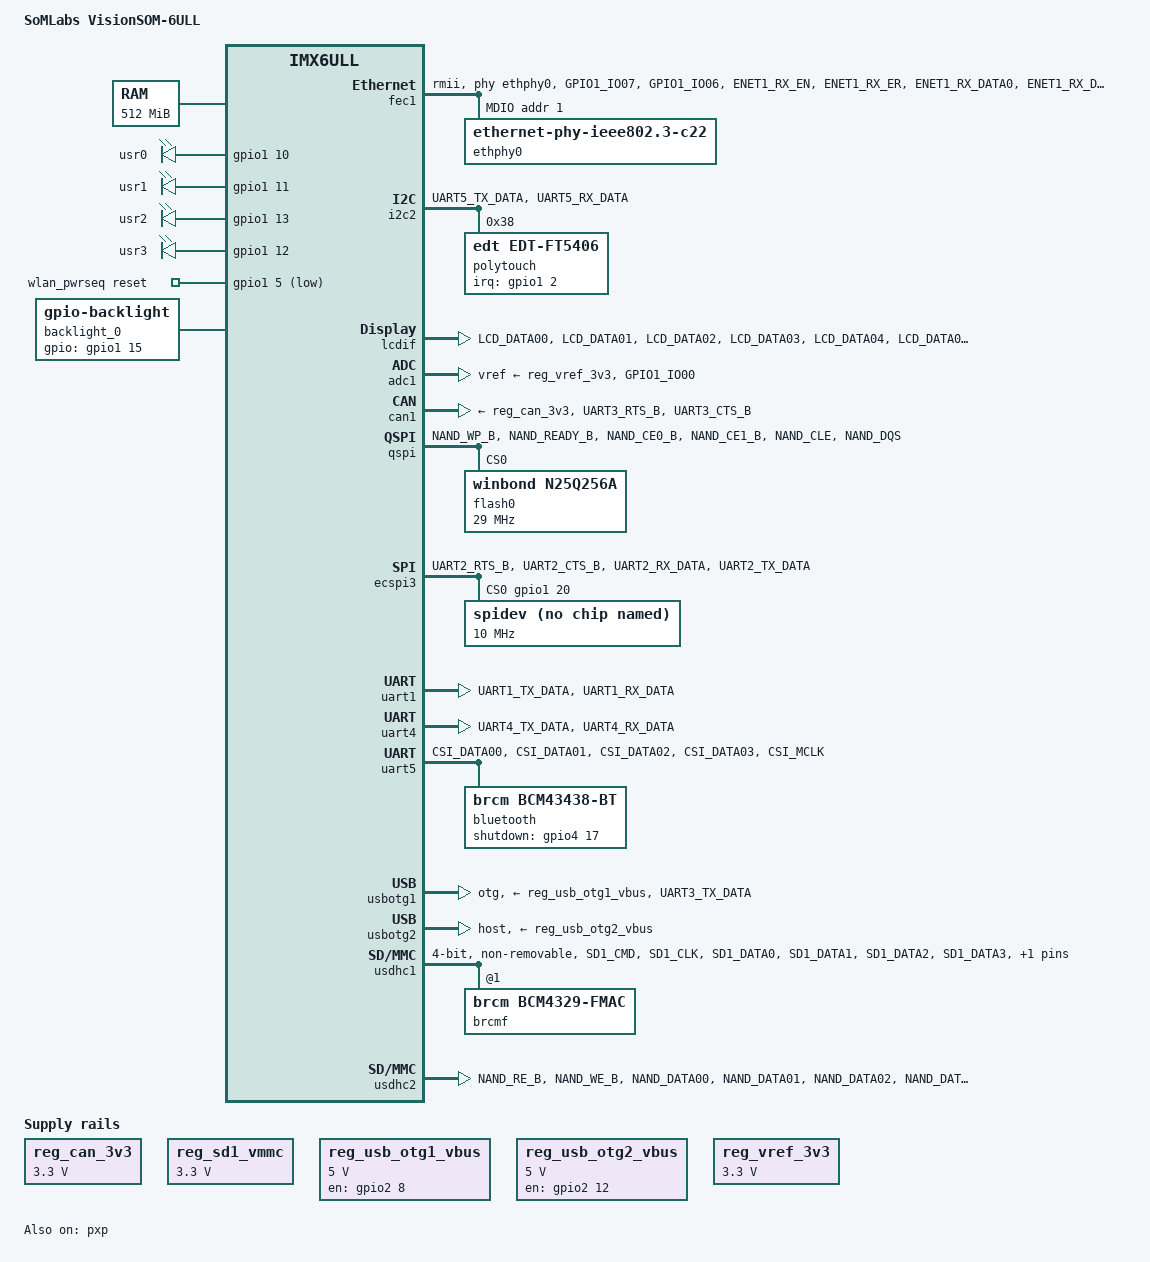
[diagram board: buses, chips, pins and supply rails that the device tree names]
/*
 * Copyright (C) 2015 Freescale Semiconductor, Inc.
 *
 * This program is free software; you can redistribute it and/or modify
 * it under the terms of the GNU General Public License version 2 as
 * published by the Free Software Foundation.
 */

/dts-v1/;

#include <dt-bindings/input/input.h>
#include "imx6ull.dtsi"

/ {
	model = "SoMLabs VisionSOM-6ULL";
	compatible = "fsl,imx6ull-14x14-evk", "fsl,imx6ull";

	chosen {
		stdout-path = &uart1;
	};

	memory {
		reg = <0x80000000 0x20000000>;
	};

	reserved-memory {
		#address-cells = <1>;
		#size-cells = <1>;
		ranges;

		linux,cma {
			compatible = "shared-dma-pool";
			reusable;
			size = <0x14000000>;
			linux,cma-default;
		};
	};

	leds {
		compatible = "gpio-leds";

		usr0 {
				label = "usr0";
				gpios = <&gpio1 10 GPIO_ACTIVE_HIGH>;
				linux,default-trigger = "heartbeat";
		};

		usr1 {
				label = "usr1";
				gpios = <&gpio1 11 GPIO_ACTIVE_HIGH>;
				linux,default-trigger = "mmc0";
		};

		usr2 {
				label = "usr2";
				gpios = <&gpio1 13 GPIO_ACTIVE_HIGH>;
				linux,default-trigger = "mmc1";
		};

		usr3 {
				label = "usr3";
				gpios = <&gpio1 12 GPIO_ACTIVE_HIGH>;
		};

	};

	pxp_v4l2 {
		compatible = "fsl,imx6ul-pxp-v4l2", "fsl,imx6sx-pxp-v4l2", "fsl,imx6sl-pxp-v4l2";
		status = "okay";
	};

	regulators {
		compatible = "simple-bus";
		#address-cells = <1>;
		#size-cells = <0>;

		reg_can_3v3: regulator@0 {
			compatible = "regulator-fixed";
			reg = <0>;
			regulator-name = "can-3v3";
			regulator-min-microvolt = <3300000>;
			regulator-max-microvolt = <3300000>;
			regulator-always-on;
		};

		reg_sd1_vmmc: regulator@1 {
			compatible = "regulator-fixed";
			regulator-name = "VSD_3V3";
			regulator-min-microvolt = <3300000>;
			regulator-max-microvolt = <3300000>;
			enable-active-high;
			regulator-always-on;
		};

		reg_usb_otg1_vbus: regulator@2 {
			compatible = "regulator-fixed";
			reg = <2>;
			pinctrl-names = "default";
			pinctrl-0 = <&pinctrl_usb_otg1>;
			regulator-name = "usb_otg1_vbus";
			regulator-min-microvolt = <5000000>;
			regulator-max-microvolt = <5000000>;
			gpio = <&gpio2 8 GPIO_ACTIVE_HIGH>;
			enable-active-high;
		};

		reg_usb_otg2_vbus: regulator@3 {
			compatible = "regulator-fixed";
			reg = <3>;
			pinctrl-names = "default";
			pinctrl-0 = <&pinctrl_usb_otg2>;
			regulator-name = "usb_otg2_vbus";
			regulator-min-microvolt = <5000000>;
			regulator-max-microvolt = <5000000>;
			gpio = <&gpio2 12 GPIO_ACTIVE_HIGH>;
			enable-active-high;
		};

		reg_vref_3v3: regulator@4 {
			compatible = "regulator-fixed";
			regulator-name = "vref-3v3";
			regulator-min-microvolt = <3300000>;
			regulator-max-microvolt = <3300000>;
		};
	};

	wlan_pwrseq: wlanpwrseq {
		compatible = "mmc-pwrseq-simple";
		pinctrl-names = "default";
		pinctrl-0 = <&pinctrl_wlan_en>;
		reset-gpios = <&gpio1 5 GPIO_ACTIVE_LOW>;
	};

	backlight_0: backlight {
		compatible = "gpio-backlight";
		gpios = <&gpio1 15 GPIO_ACTIVE_HIGH>;
	};
};

&cpu0 {
	arm-supply = <&reg_arm>;
	soc-supply = <&reg_soc>;
};

&clks {
	assigned-clocks = <&clks IMX6UL_CLK_PLL4_AUDIO_DIV>;
	assigned-clock-rates = <786432000>;
};

&fec1 {
	pinctrl-names = "default";
	pinctrl-0 = <&pinctrl_enet1>;
	phy-mode = "rmii";
	phy-handle = <&ethphy0>;
	status = "okay";

	mdio {
		#address-cells = <1>;
		#size-cells = <0>;

		ethphy0: ethernet-phy@1 {
			compatible = "ethernet-phy-ieee802.3-c22";
			reg = <1>;
			clocks = <&clks IMX6UL_CLK_ENET_REF>;
			clock-names = "rmii-ref";
		};
	};
};

&gpc {
	fsl,cpu_pupscr_sw2iso = <0x1>;
	fsl,cpu_pupscr_sw = <0x0>;
	fsl,cpu_pdnscr_iso2sw = <0x1>;
	fsl,cpu_pdnscr_iso = <0x1>;
	fsl,ldo-bypass = <0>; /* DCDC, ldo-enable */
};

&i2c2 {
	clock_frequency = <100000>;
	pinctrl-names = "default";
	pinctrl-0 = <&pinctrl_i2c2>;
	status = "okay";

	polytouch: edt-ft5406@38 {
			status = "okay";
			compatible = "edt,edt-ft5406", "edt,edt-ft5x06";
			pinctrl-names = "default";
			pinctrl-0 = <&edt_ft5406_ts_pins_default>;

			reg = <0x38>;
			interrupt-parent = <&gpio1>;
			interrupts = <2 IRQ_TYPE_EDGE_FALLING>;
			touchscreen-size-x = <800>;
			touchscreen-size-y = <480>;
			touchscreen-inverted-x;
			touchscreen-inverted-y;
	};
};

&iomuxc {
	pinctrl-names = "default";
	pinctrl-0 = <&pinctrl_hog_1>;
	imx6ul-evk {
		pinctrl_adc1: adc1grp {
			fsl,pins = <
				MX6UL_PAD_GPIO1_IO00__GPIO1_IO00        0xb0
			>;
		};

		pinctrl_bt_en: btengrp {
			fsl,pins = <
				MX6UL_PAD_CSI_MCLK__GPIO4_IO17 0x17059
			>;
		};

		pinctrl_hog_1: hoggrp-1 {
			fsl,pins = <
				MX6UL_PAD_JTAG_MOD__GPIO1_IO10		0x17099	/* LED 0 */
				MX6UL_PAD_JTAG_TMS__GPIO1_IO11		0x17099	/* LED 1 */
				MX6UL_PAD_JTAG_TDI__GPIO1_IO13		0x17099	/* LED 2 */
				MX6UL_PAD_JTAG_TDO__GPIO1_IO12		0x17099	/* LED 3 */
			>;
		};

		edt_ft5406_ts_pins_default: tsgrp {
			fsl,pins = <
				MX6UL_PAD_GPIO1_IO02__GPIO1_IO02	0x1b0b0
			>;
		};

		pinctrl_enet1: enet1grp {
			fsl,pins = <
				MX6UL_PAD_GPIO1_IO07__ENET1_MDC		0x1b0b0
				MX6UL_PAD_GPIO1_IO06__ENET1_MDIO	0x1F829

				MX6UL_PAD_ENET1_RX_EN__ENET1_RX_EN	0x1b0b0
				MX6UL_PAD_ENET1_RX_ER__ENET1_RX_ER	0x1b0b0
				MX6UL_PAD_ENET1_RX_DATA0__ENET1_RDATA00	0x1b0b0
				MX6UL_PAD_ENET1_RX_DATA1__ENET1_RDATA01	0x1b0b0
				MX6UL_PAD_ENET1_TX_EN__ENET1_TX_EN	0x1b0b0
				MX6UL_PAD_ENET1_TX_DATA0__ENET1_TDATA00	0x1b0b0
				MX6UL_PAD_ENET1_TX_DATA1__ENET1_TDATA01	0x1b0b0
				MX6UL_PAD_ENET1_TX_CLK__ENET1_REF_CLK1	0x400010a9
			>;
		};

		pinctrl_i2c2: i2c2grp {
			fsl,pins = <
				MX6UL_PAD_UART5_TX_DATA__I2C2_SCL 0x4001b8b0
				MX6UL_PAD_UART5_RX_DATA__I2C2_SDA 0x4001b8b0
			>;
		};

		pinctrl_lcdif_dat: lcdifdatgrp {
			fsl,pins = <
				MX6UL_PAD_LCD_DATA00__LCDIF_DATA00  0x79
				MX6UL_PAD_LCD_DATA01__LCDIF_DATA01  0x79
				MX6UL_PAD_LCD_DATA02__LCDIF_DATA02  0x79
				MX6UL_PAD_LCD_DATA03__LCDIF_DATA03  0x79
				MX6UL_PAD_LCD_DATA04__LCDIF_DATA04  0x79
				MX6UL_PAD_LCD_DATA05__LCDIF_DATA05  0x79
				MX6UL_PAD_LCD_DATA06__LCDIF_DATA06  0x79
				MX6UL_PAD_LCD_DATA07__LCDIF_DATA07  0x79
				MX6UL_PAD_LCD_DATA08__LCDIF_DATA08  0x79
				MX6UL_PAD_LCD_DATA09__LCDIF_DATA09  0x79
				MX6UL_PAD_LCD_DATA10__LCDIF_DATA10  0x79
				MX6UL_PAD_LCD_DATA11__LCDIF_DATA11  0x79
				MX6UL_PAD_LCD_DATA12__LCDIF_DATA12  0x79
				MX6UL_PAD_LCD_DATA13__LCDIF_DATA13  0x79
				MX6UL_PAD_LCD_DATA14__LCDIF_DATA14  0x79
				MX6UL_PAD_LCD_DATA15__LCDIF_DATA15  0x79
				MX6UL_PAD_LCD_DATA16__LCDIF_DATA16  0x79
				MX6UL_PAD_LCD_DATA17__LCDIF_DATA17  0x79
				MX6UL_PAD_LCD_DATA18__LCDIF_DATA18  0x79
				MX6UL_PAD_LCD_DATA19__LCDIF_DATA19  0x79
				MX6UL_PAD_LCD_DATA20__LCDIF_DATA20  0x79
				MX6UL_PAD_LCD_DATA21__LCDIF_DATA21  0x79
				MX6UL_PAD_LCD_DATA22__LCDIF_DATA22  0x79
				MX6UL_PAD_LCD_DATA23__LCDIF_DATA23  0x79
			>;
		};

		pinctrl_lcdif_ctrl: lcdifctrlgrp {
			fsl,pins = <
				MX6UL_PAD_LCD_CLK__LCDIF_CLK	    0x79
				MX6UL_PAD_LCD_ENABLE__LCDIF_ENABLE  0x79
				MX6UL_PAD_LCD_HSYNC__LCDIF_HSYNC    0x79
				MX6UL_PAD_LCD_VSYNC__LCDIF_VSYNC    0x79
				MX6UL_PAD_LCD_RESET__GPIO3_IO04     0xB079
			>;
		};

		pinctrl_qspi: qspigrp {
			fsl,pins = <
				MX6UL_PAD_NAND_WP_B__QSPI_A_SCLK      0x70a1
				MX6UL_PAD_NAND_READY_B__QSPI_A_DATA00 0x70a1
				MX6UL_PAD_NAND_CE0_B__QSPI_A_DATA01   0x70a1
				MX6UL_PAD_NAND_CE1_B__QSPI_A_DATA02   0x70a1
				MX6UL_PAD_NAND_CLE__QSPI_A_DATA03     0x70a1
				MX6UL_PAD_NAND_DQS__QSPI_A_SS0_B      0x70a1
			>;
		};

		pinctrl_ecspi3: ecspi3grp {
			fsl,pins = <
				MX6UL_PAD_UART2_RTS_B__ECSPI3_MISO      0x1b0b1
				MX6UL_PAD_UART2_CTS_B__ECSPI3_MOSI      0x1b0b1
				MX6UL_PAD_UART2_RX_DATA__ECSPI3_SCLK    0x1b0b1
				MX6UL_PAD_UART2_TX_DATA__GPIO1_IO20     0x1b0b0
			>;
		};

		pinctrl_uart1: uart1grp {
			fsl,pins = <
				MX6UL_PAD_UART1_TX_DATA__UART1_DCE_TX 0x1b0b1
				MX6UL_PAD_UART1_RX_DATA__UART1_DCE_RX 0x1b0b1
			>;
		};

		pinctrl_uart4: uart4grp {
			fsl,pins = <
                                MX6UL_PAD_UART4_TX_DATA__UART4_DCE_TX 0x1b0b1
                                MX6UL_PAD_UART4_RX_DATA__UART4_DCE_RX 0x1b0b1
			>;
		};

		pinctrl_uart5: uart5grp {
			fsl,pins = <
				MX6UL_PAD_CSI_DATA00__UART5_DCE_TX      0x1b0b1
				MX6UL_PAD_CSI_DATA01__UART5_DCE_RX      0x1b0b1
				MX6UL_PAD_CSI_DATA02__UART5_DCE_RTS     0x1b0b1
				MX6UL_PAD_CSI_DATA03__UART5_DCE_CTS     0x1b0b1
			>;
		};

		pinctrl_flexcan1: flexcan1grp{
			fsl,pins = <
				MX6UL_PAD_UART3_RTS_B__FLEXCAN1_RX      0x1b020
				MX6UL_PAD_UART3_CTS_B__FLEXCAN1_TX      0x1b020
			>;
		};

		pinctrl_usdhc1: usdhc1grp {
			fsl,pins = <
				MX6UL_PAD_SD1_CMD__USDHC1_CMD      0x17059
				MX6UL_PAD_SD1_CLK__USDHC1_CLK      0x10071
				MX6UL_PAD_SD1_DATA0__USDHC1_DATA0  0x17059
				MX6UL_PAD_SD1_DATA1__USDHC1_DATA1  0x17059
				MX6UL_PAD_SD1_DATA2__USDHC1_DATA2  0x17059
				MX6UL_PAD_SD1_DATA3__USDHC1_DATA3  0x17059
                                MX6UL_PAD_JTAG_TCK__OSC32K_32K_OUT 0x17099
			>;
		};

                pinctrl_usdhc1_100mhz: usdhc1grp_100mhz {
                        fsl,pins = <
                                MX6UL_PAD_SD1_CMD__USDHC1_CMD      0x17069
                                MX6UL_PAD_SD1_CLK__USDHC1_CLK      0x10069
                                MX6UL_PAD_SD1_DATA0__USDHC1_DATA0  0x17069
                                MX6UL_PAD_SD1_DATA1__USDHC1_DATA1  0x17069
                                MX6UL_PAD_SD1_DATA2__USDHC1_DATA2  0x17069
                                MX6UL_PAD_SD1_DATA3__USDHC1_DATA3  0x17069
                                MX6UL_PAD_JTAG_TCK__OSC32K_32K_OUT 0x17099
                        >;
                };

                pinctrl_usdhc1_200mhz: usdhc1grp_200mhz {
                        fsl,pins = <
                                MX6UL_PAD_SD1_CMD__USDHC1_CMD      0x170f9
                                MX6UL_PAD_SD1_CLK__USDHC1_CLK      0x100f9
                                MX6UL_PAD_SD1_DATA0__USDHC1_DATA0  0x170f9
                                MX6UL_PAD_SD1_DATA1__USDHC1_DATA1  0x170f9
                                MX6UL_PAD_SD1_DATA2__USDHC1_DATA2  0x170f9
                                MX6UL_PAD_SD1_DATA3__USDHC1_DATA3  0x170f9
                                MX6UL_PAD_JTAG_TCK__OSC32K_32K_OUT 0x17099
                        >;
                };

		pinctrl_usdhc2: usdhc2grp {
			fsl,pins = <
				MX6UL_PAD_NAND_RE_B__USDHC2_CLK	    0x10069
				MX6UL_PAD_NAND_WE_B__USDHC2_CMD     0x17059
				MX6UL_PAD_NAND_DATA00__USDHC2_DATA0 0x17059
				MX6UL_PAD_NAND_DATA01__USDHC2_DATA1 0x17059
				MX6UL_PAD_NAND_DATA02__USDHC2_DATA2 0x17059
				MX6UL_PAD_NAND_DATA03__USDHC2_DATA3 0x17059
			>;
		};

		pinctrl_usdhc2_8bit: usdhc2grp_8bit {
			fsl,pins = <
				MX6UL_PAD_NAND_RE_B__USDHC2_CLK     0x10069
				MX6UL_PAD_NAND_WE_B__USDHC2_CMD     0x17059
				MX6UL_PAD_NAND_DATA00__USDHC2_DATA0 0x17059
				MX6UL_PAD_NAND_DATA01__USDHC2_DATA1 0x17059
				MX6UL_PAD_NAND_DATA02__USDHC2_DATA2 0x17059
				MX6UL_PAD_NAND_DATA03__USDHC2_DATA3 0x17059
				MX6UL_PAD_NAND_DATA04__USDHC2_DATA4 0x17059
				MX6UL_PAD_NAND_DATA05__USDHC2_DATA5 0x17059
				MX6UL_PAD_NAND_DATA06__USDHC2_DATA6 0x17059
				MX6UL_PAD_NAND_DATA07__USDHC2_DATA7 0x17059
			>;
		};

		pinctrl_usdhc2_8bit_100mhz: usdhc2grp_8bit_100mhz {
			fsl,pins = <
				MX6UL_PAD_NAND_RE_B__USDHC2_CLK     0x100b9
				MX6UL_PAD_NAND_WE_B__USDHC2_CMD     0x170b9
				MX6UL_PAD_NAND_DATA00__USDHC2_DATA0 0x170b9
				MX6UL_PAD_NAND_DATA01__USDHC2_DATA1 0x170b9
				MX6UL_PAD_NAND_DATA02__USDHC2_DATA2 0x170b9
				MX6UL_PAD_NAND_DATA03__USDHC2_DATA3 0x170b9
				MX6UL_PAD_NAND_DATA04__USDHC2_DATA4 0x170b9
				MX6UL_PAD_NAND_DATA05__USDHC2_DATA5 0x170b9
				MX6UL_PAD_NAND_DATA06__USDHC2_DATA6 0x170b9
				MX6UL_PAD_NAND_DATA07__USDHC2_DATA7 0x170b9
			>;
		};

		pinctrl_usdhc2_8bit_200mhz: usdhc2grp_8bit_200mhz {
			fsl,pins = <
				MX6UL_PAD_NAND_RE_B__USDHC2_CLK     0x100f9
				MX6UL_PAD_NAND_WE_B__USDHC2_CMD     0x170f9
				MX6UL_PAD_NAND_DATA00__USDHC2_DATA0 0x170f9
				MX6UL_PAD_NAND_DATA01__USDHC2_DATA1 0x170f9
				MX6UL_PAD_NAND_DATA02__USDHC2_DATA2 0x170f9
				MX6UL_PAD_NAND_DATA03__USDHC2_DATA3 0x170f9
				MX6UL_PAD_NAND_DATA04__USDHC2_DATA4 0x170f9
				MX6UL_PAD_NAND_DATA05__USDHC2_DATA5 0x170f9
				MX6UL_PAD_NAND_DATA06__USDHC2_DATA6 0x170f9
				MX6UL_PAD_NAND_DATA07__USDHC2_DATA7 0x170f9
			>;
		};

		pinctrl_gpmi_nand_1: gpmi-nand-1 {
			fsl,pins = <
				MX6UL_PAD_NAND_CLE__RAWNAND_CLE         0xb0b1
				MX6UL_PAD_NAND_ALE__RAWNAND_ALE         0xb0b1
				MX6UL_PAD_NAND_WP_B__RAWNAND_WP_B       0xb0b1
				MX6UL_PAD_NAND_READY_B__RAWNAND_READY_B 0xb000
				MX6UL_PAD_NAND_CE0_B__RAWNAND_CE0_B     0xb0b1
				MX6UL_PAD_NAND_RE_B__RAWNAND_RE_B       0xb0b1
				MX6UL_PAD_NAND_WE_B__RAWNAND_WE_B       0xb0b1
				MX6UL_PAD_NAND_DATA00__RAWNAND_DATA00   0xb0b1
				MX6UL_PAD_NAND_DATA01__RAWNAND_DATA01   0xb0b1
				MX6UL_PAD_NAND_DATA02__RAWNAND_DATA02   0xb0b1
				MX6UL_PAD_NAND_DATA03__RAWNAND_DATA03   0xb0b1
				MX6UL_PAD_NAND_DATA04__RAWNAND_DATA04   0xb0b1
				MX6UL_PAD_NAND_DATA05__RAWNAND_DATA05   0xb0b1
				MX6UL_PAD_NAND_DATA06__RAWNAND_DATA06   0xb0b1
				MX6UL_PAD_NAND_DATA07__RAWNAND_DATA07   0xb0b1
			>;
		};

		pinctrl_wdog: wdoggrp {
			fsl,pins = <
				MX6UL_PAD_ENET2_RX_ER__WDOG1_WDOG_ANY    0x30b0
			>;
		};

		pinctrl_wlan_en: wlanengrp {
			fsl,pins = <
				MX6UL_PAD_GPIO1_IO05__GPIO1_IO05 0x17059
			>;
		};

		pinctrl_usb_otg1_id: usbotg1idgrp {
			fsl,pins = <
				MX6UL_PAD_UART3_TX_DATA__GPIO1_IO24
			>;
		};

		pinctrl_usb_otg1: usbotg1grp {
			fsl,pins = <
				MX6UL_PAD_ENET2_RX_DATA0__GPIO2_IO08    0x10b0
			>;
		};

		pinctrl_usb_otg2: usbotg2grp {
			fsl,pins = <
				MX6UL_PAD_ENET2_TX_DATA1__GPIO2_IO12    0x10b0
			>;
		};
	};
};

&lcdif {
	pinctrl-names = "default";
	pinctrl-0 = <&pinctrl_lcdif_dat
		     &pinctrl_lcdif_ctrl>;
	display = <&display0>;
	backlight = <&backlight_0>;
	status = "okay";

	display0: display {
		bits-per-pixel = <16>;
		bus-width = <24>;

		display-timings {
			native-mode = <&timing0>;
			timing0: timing0 {
			clock-frequency = <33300000>;
			hactive = <800>;
			vactive = <480>;
			hfront-porch = <210>;
			hback-porch = <46>;
			hsync-len = <20>;
			vback-porch = <23>;
			vfront-porch = <22>;
			vsync-len = <10>;

			hsync-active = <0>;
			vsync-active = <0>;
			de-active = <1>;
			pixelclk-active = <0>;
			};
		};
	};
};

&adc1 {
        pinctrl-names = "default";
        pinctrl-0 = <&pinctrl_adc1>;
        vref-supply = <&reg_vref_3v3>;
        status = "okay";
};

&can1 {
        pinctrl-names = "default";
        pinctrl-0 = <&pinctrl_flexcan1>;
	xceiver-supply = <&reg_can_3v3>;
        status = "okay";
};

&pxp {
	status = "okay";
};

&qspi {
	pinctrl-names = "default";
	pinctrl-0 = <&pinctrl_qspi>;
	status = "okay";
	ddrsmp=<0>;

	flash0: n25q256a@0 {
		#address-cells = <1>;
		#size-cells = <1>;
		compatible = "winbond,n25q256a";
		spi-max-frequency = <29000000>;
		spi-nor,ddr-quad-read-dummy = <6>;
		reg = <0>;
	};
};

&ecspi3 {
	fsl,spi-num-chipselects = <1>;
	cs-gpios = <&gpio1 20 0>;
	pinctrl-names = "default";
	pinctrl-0 = <&pinctrl_ecspi3>;
	status = "okay";

	spidev@0 {
		compatible = "spidev";
		spi-max-frequency = <10000000>;
		reg = <0>;
	};
};

&uart1 {
	pinctrl-names = "default";
	pinctrl-0 = <&pinctrl_uart1>;
	status = "okay";
};

&uart4 {
	pinctrl-names = "default";
	pinctrl-0 = <&pinctrl_uart4>;
	status = "okay";
};

&uart5 {
	pinctrl-names = "default";
	pinctrl-0 = <&pinctrl_uart5 &pinctrl_bt_en>;
	fsl,uart-has-rtscts;
	dma-names = "", "";
	status = "okay";
	
	bluetooth {
		shutdown-gpios = <&gpio4 17 GPIO_ACTIVE_HIGH>;
		compatible = "brcm,bcm43438-bt";
		max-speed = <3000000>;
	};
};

&usbotg1 {
	vbus-supply = <&reg_usb_otg1_vbus>;
	pinctrl-names = "default";
	pinctrl-0 = <&pinctrl_usb_otg1_id>;
	dr_mode = "otg";
	status = "okay";
};

&usbotg2 {
	vbus-supply = <&reg_usb_otg2_vbus>;
	pinctrl-names = "default";
	dr_mode = "host";
	status = "okay";
};

&usbphy1 {
	tx-d-cal = <0x5>;
};

&usbphy2 {
	tx-d-cal = <0x5>;
};

&usdhc1 {
	#address-cells = <1>;
	#size-cells = <0>;
	pinctrl-names = "default", "state_100mhz", "state_200mhz";
	pinctrl-0 = <&pinctrl_usdhc1>;
	pinctrl-1 = <&pinctrl_usdhc1_100mhz>;
	pinctrl-2 = <&pinctrl_usdhc1_200mhz>;
	bus-width = <4>;
	pm-ignore-notify;
	keep-power-in-suspend;
	non-removable;
	status = "okay";
	cap-power-off-card;
	mmc-pwrseq = <&wlan_pwrseq>;

	brcmf: bcrmf@1 {
		reg = <1>;
		compatible = "brcm,bcm4329-fmac";
	};
};

&usdhc2 {
	pinctrl-names = "default";
	pinctrl-0 = <&pinctrl_usdhc2>;
	status = "okay";
};

&wdog1 {
	pinctrl-names = "default";
	pinctrl-0 = <&pinctrl_wdog>;
	fsl,wdog_b;
};

&gpmi {
	pinctrl-names = "default";
	pinctrl-0 = <&pinctrl_gpmi_nand_1>;
	status = "disabled";
	nand-on-flash-bbt;
};

